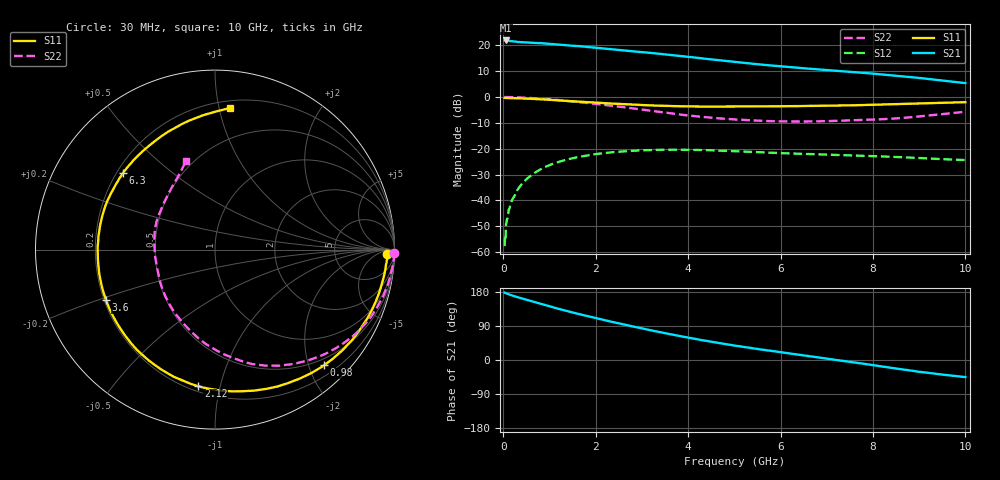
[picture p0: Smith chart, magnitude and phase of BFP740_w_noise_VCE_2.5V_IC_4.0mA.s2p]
! Infineon Technologies  Discrete & RF Semiconductors
! BFP740
! VCE =  2.5 V,  IC =  4.0 mA
! Common Emitter S-Parameters:  Jan 2016
# GHz  S  MA  R  50
!  f  S11  S21  S12  S22
! GHz  MAG  ANG  MAG  ANG  MAG  ANG  MAG  ANG
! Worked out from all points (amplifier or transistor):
!   229 points, 30 MHz to 10 GHz, reference 50 ohm
!   highest |S21| = 21.9 dB at 50 MHz (marker M1)
!   |S21| within 3 dB of that: start of sweep to 2.128 GHz
!   unconditionally stable (mu >= 1): 8.057 GHz to end of sweep
!   at 280 MHz: K = 0.07, MSG = 29.1 dB, |S12| = -36.9 dB
!   at 1.78 GHz: K = 0.21, MSG = 21.1 dB, |S12| = -22.7 dB
!   at 10 GHz: K = 1.20, MAG = 12.2 dB, |S12| = -24.4 dB
!   lowest NFmin = 0.45 dB at 450 MHz
!   S11 on the Smith chart (normalised r, x): 30 MHz: 35, -22; 980 MHz: 0.38, -2.27; 2.12 GHz: 0.23, -0.86; 3.6 GHz: 0.21, -0.21; 6.3 GHz: 0.22, +0.34; 10 GHz: 0.25, +1.08
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0.03  0.9596 -1.5  12.39 177.7  0.0013 111.4  0.9981 -1.1
0.04  0.9593 -2.0  12.27 177.2  0.002 94.1  0.9984 -1.4
0.05  0.961 -2.5  12.42 177.0  0.0018 92.2  0.9971 -1.8
0.06  0.9615 -3.0  12.37 176.2  0.0035 82.7  0.9992 -2.1
0.12  0.9553 -6.1  12.26 173.2  0.0067 88.3  0.996 -4.1
0.26  0.9474 -12.8  11.82 167.5  0.013 81.4  0.9872 -8.9
0.45  0.9356 -21.7  11.45 160.7  0.023 75.7  0.974 -15.1
0.8  0.9047 -38.4  11.04 148.5  0.0395 64.9  0.9337 -26.3
0.98  0.8859 -46.6  10.7 142.5  0.0474 59.4  0.9079 -31.9
1.3  0.8483 -61.2  10.17 131.7  0.0591 50.3  0.856 -41.6
1.7  0.8046 -78.9  9.522 119.4  0.0711 40.3  0.7878 -52.8
2.12  0.7671 -97.0  8.808 107.0  0.081 30.2  0.7158 -64.6
2.78  0.7145 -123.5  7.719 89.1  0.0907 16.5  0.6051 -81.6
3.4  0.6775 -147.6  6.82 73.3  0.095 5.0  0.5126 -98.5
3.6  0.6688 -155.0  6.545 68.4  0.0953 1.7  0.4845 -104.2
4.3  0.6533 -178.4  5.606 52.4  0.0942 -9.1  0.4128 -124.0
5.1  0.6559 161.1  4.691 36.3  0.0889 -18.5  0.3647 -144.0
6.3  0.6667 140.4  3.714 15.7  0.0809 -27.6  0.3355 -171.4
6.8  0.6739 132.2  3.424 7.3  0.0779 -30.7  0.3381 176.7
8.4  0.7236 104.7  2.636 -20.7  0.0697 -38.8  0.3804 140.0
9  0.7515 95.1  2.34 -31.1  0.0661 -41.1  0.4205 125.2
10  0.7945 83.8  1.857 -45.2  0.0603 -41.7  0.5183 108.2
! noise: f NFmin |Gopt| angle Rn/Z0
0.45  0.45  0.46  11  0.27
0.9  0.45  0.46  18  0.26
1.5  0.49  0.45  27  0.25
1.9  0.53  0.43  43  0.24
2.4  0.55  0.43  48  0.23
3.5  0.67  0.39  70  0.21
5.5  0.9  0.28  159  0.19
10  1.62  0.57  -84  0.25
